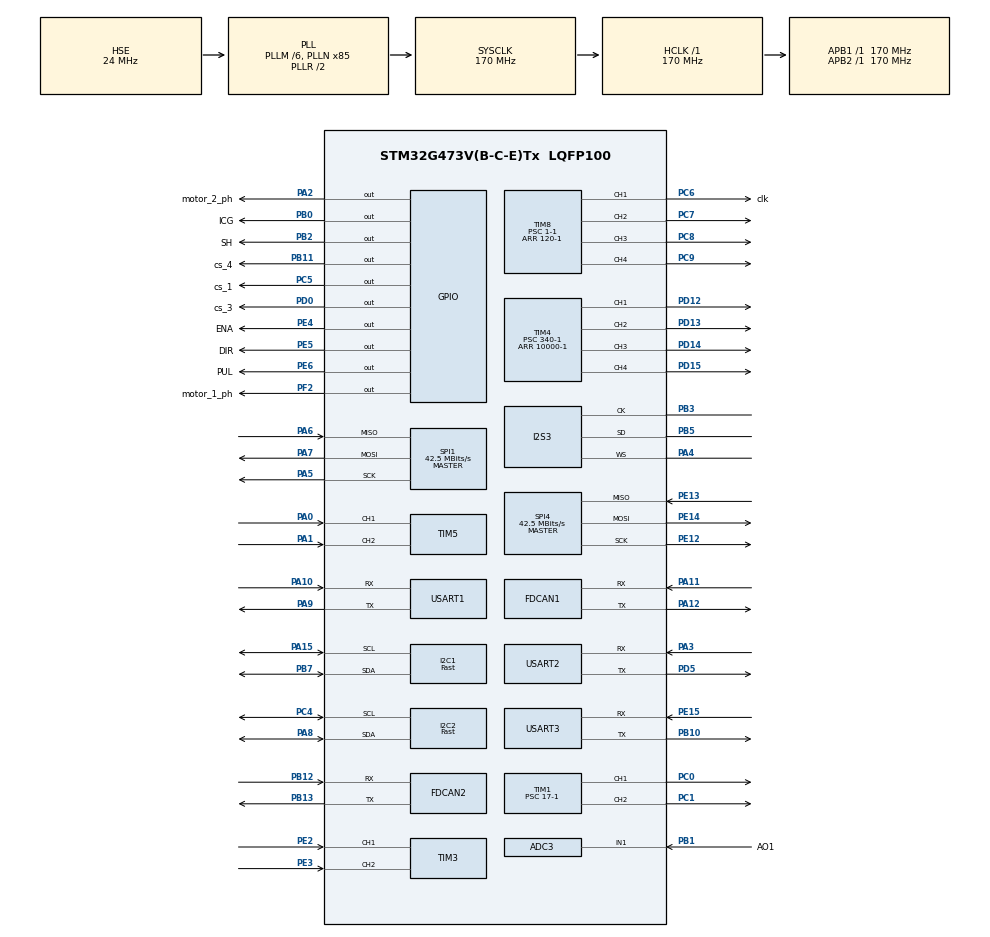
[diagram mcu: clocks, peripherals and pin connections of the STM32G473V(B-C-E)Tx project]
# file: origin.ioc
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ADC3.Channel-1\#ChannelRegularConversion=ADC_CHANNEL_1
ADC3.ClockPrescaler=ADC_CLOCK_SYNC_PCLK_DIV4
ADC3.DMAContinuousRequests=ENABLE
ADC3.ExternalTrigConv=ADC_EXTERNALTRIG_T7_TRGO
ADC3.NbrOfConversion=1
ADC3.NbrOfConversionFlag=1
ADC3.OffsetNumber-1\#ChannelRegularConversion=ADC_OFFSET_NONE
ADC3.Rank-1\#ChannelRegularConversion=1
ADC3.SamplingTime-1\#ChannelRegularConversion=ADC_SAMPLETIME_12CYCLES_5
ADC3.master=1
Dma.ADC3.0.Direction=DMA_PERIPH_TO_MEMORY
Dma.ADC3.0.EventEnable=DISABLE
Dma.ADC3.0.Instance=DMA1_Channel1
Dma.ADC3.0.MemDataAlignment=DMA_MDATAALIGN_HALFWORD
Dma.ADC3.0.MemInc=DMA_MINC_ENABLE
Dma.ADC3.0.Mode=DMA_NORMAL
Dma.ADC3.0.PeriphDataAlignment=DMA_PDATAALIGN_HALFWORD
Dma.ADC3.0.PeriphInc=DMA_PINC_DISABLE
Dma.ADC3.0.Polarity=HAL_DMAMUX_REQ_GEN_RISING
Dma.ADC3.0.Priority=DMA_PRIORITY_LOW
Dma.ADC3.0.RequestNumber=1
Dma.ADC3.0.SignalID=NONE
Dma.ADC3.0.SyncEnable=DISABLE
Dma.ADC3.0.SyncPolarity=HAL_DMAMUX_SYNC_NO_EVENT
Dma.ADC3.0.SyncRequestNumber=1
Dma.ADC3.0.SyncSignalID=NONE
Dma.Request0=ADC3
FDCAN1.CalculateBaudRateNominal=3541666
FDCAN1.CalculateTimeBitNominal=282
FDCAN1.CalculateTimeQuantumNominal=94.11764705882354
FDCAN2.CalculateBaudRateNominal=3541666
FDCAN2.CalculateTimeBitNominal=282
FDCAN2.CalculateTimeQuantumNominal=94.11764705882354
I2C1.I2C_Speed_Mode=I2C_Fast
I2C1.Timing=0x40621236
I2C2.I2C_Speed_Mode=I2C_Fast
I2C2.Timing=0x40621236
I2S3.AudioFreq=I2S_AUDIOFREQ_16K
I2S3.ErrorAudioFreq=0.0 %
I2S3.FullDuplexMode=I2S_FULLDUPLEXMODE_DISABLE
I2S3.Instance=SPI$Index
I2S3.RealAudioFreq=16.001 KHz
I2S3.VirtualMode=I2S_MODE_MASTER
Mcu.Family=STM32G4
Mcu.Name=STM32G473V(B-C-E)Tx
Mcu.Package=LQFP100
NVIC.DMA1_Channel1_IRQn=true\:0\:0\:false\:false\:true\:false\:true\:true
NVIC.PriorityGroup=NVIC_PRIORITYGROUP_4
NVIC.TIM2_IRQn=true\:0\:0\:false\:false\:true\:true\:true\:true
NVIC.TIM6_DAC_IRQn=true\:0\:0\:false\:false\:true\:true\:true\:true
PA0.Signal=S_TIM5_CH1
PA1.Signal=S_TIM5_CH2
PA10.Mode=Asynchronous
PA10.Signal=USART1_RX
PA11.Mode=FDCAN_Activate
PA11.Signal=FDCAN1_RX
PA12.Mode=FDCAN_Activate
PA12.Signal=FDCAN1_TX
PA13.Mode=Serial_Wire
PA13.Signal=SYS_JTMS-SWDIO
PA14.Mode=Serial_Wire
PA14.Signal=SYS_JTCK-SWCLK
PA15.Mode=I2C
PA15.Signal=I2C1_SCL
PA2.GPIO_Label=motor_2_ph
PA2.Signal=GPIO_Output
PA3.Mode=Asynchronous
PA3.Signal=USART2_RX
PA4.Mode=Half_Duplex_Master
PA4.Signal=I2S3_WS
PA5.Mode=Full_Duplex_Master
PA5.Signal=SPI1_SCK
PA6.Mode=Full_Duplex_Master
PA6.Signal=SPI1_MISO
PA7.Mode=Full_Duplex_Master
PA7.Signal=SPI1_MOSI
PA8.Mode=I2C
PA8.Signal=I2C2_SDA
PA9.Mode=Asynchronous
PA9.Signal=USART1_TX
PB0.GPIO_Label=ICG
PB0.Signal=GPIO_Output
PB1.GPIO_Label=AO1
PB1.Mode=IN1-Single-Ended
PB1.Signal=ADC3_IN1
PB10.Mode=Asynchronous
PB10.Signal=USART3_TX
PB11.GPIO_Label=cs_4
PB11.Signal=GPIO_Output
PB12.Mode=FDCAN_Activate
PB12.Signal=FDCAN2_RX
PB13.Mode=FDCAN_Activate
PB13.Signal=FDCAN2_TX
PB2.GPIO_Label=SH
PB2.GPIO_Speed=GPIO_SPEED_FREQ_VERY_HIGH
PB2.Signal=GPIO_Output
PB3.Mode=Half_Duplex_Master
PB3.Signal=I2S3_CK
PB5.Mode=Half_Duplex_Master
PB5.Signal=I2S3_SD
PB7.Mode=I2C
PB7.Signal=I2C1_SDA
PC0.Signal=S_TIM1_CH1
PC1.Signal=S_TIM1_CH2
PC10.Signal=UART4_TX
PC11.Signal=UART4_RX
PC12.Signal=UART5_TX
PC4.Mode=I2C
PC4.Signal=I2C2_SCL
PC5.GPIO_Label=cs_1
PC5.Signal=GPIO_Output
PC6.GPIO_Label=clk
PC6.Signal=S_TIM8_CH1
PC7.Signal=S_TIM8_CH2
PC8.Signal=S_TIM8_CH3
PC9.Signal=S_TIM8_CH4
PD0.GPIO_Label=cs_3
PD0.Signal=GPIO_Output
PD10.Signal=ADC5_IN7
PD11.Signal=ADC5_IN8
PD12.Signal=S_TIM4_CH1
PD13.Signal=S_TIM4_CH2
PD14.Signal=S_TIM4_CH3
PD15.Signal=S_TIM4_CH4
PD2.Signal=UART5_RX
PD3.Signal=S_TIM2_CH1
PD4.Signal=S_TIM2_CH2
PD5.Mode=Asynchronous
PD5.Signal=USART2_TX
PD6.Signal=S_TIM2_CH4
PD7.Signal=S_TIM2_CH3
PD8.Signal=ADC5_IN12
PD9.Signal=ADC5_IN13
PE12.Mode=Full_Duplex_Master
PE12.Signal=SPI4_SCK
PE13.Mode=Full_Duplex_Master
PE13.Signal=SPI4_MISO
PE14.Mode=Full_Duplex_Master
PE14.Signal=SPI4_MOSI
PE15.Mode=Asynchronous
PE15.Signal=USART3_RX
PE2.Signal=S_TIM3_CH1
PE3.Signal=S_TIM3_CH2
PE4.GPIO_Label=ENA
PE4.Signal=GPIO_Output
PE5.GPIO_Label=DIR
PE5.Signal=GPIO_Output
PE6.GPIO_Label=PUL
PE6.Signal=GPIO_Output
PE9.GPIO_Label=ccd_b
PE9.Signal=ADC3_IN2
PF0-OSC_IN.Mode=HSE-External-Oscillator
PF0-OSC_IN.Signal=RCC_OSC_IN
PF1-OSC_OUT.Mode=HSE-External-Oscillator
PF1-OSC_OUT.Signal=RCC_OSC_OUT
PF2.GPIO_Label=motor_1_ph
PF2.Signal=GPIO_Output
ProjectManager.HeapSize=0x200
ProjectManager.StackSize=0x400
ProjectManager.TargetToolchain=MDK-ARM V5.32
RCC.ADC12Freq_Value=170000000
RCC.ADC345Freq_Value=170000000
RCC.AHBFreq_Value=170000000
RCC.APB1Freq_Value=170000000
RCC.APB1TimFreq_Value=170000000
RCC.APB2Freq_Value=170000000
RCC.APB2TimFreq_Value=170000000
RCC.CortexFreq_Value=170000000
RCC.EXTERNAL_CLOCK_VALUE=12288000
RCC.HCLKFreq_Value=170000000
RCC.HSE_VALUE=24000000
RCC.HSI48_VALUE=48000000
RCC.HSI_VALUE=16000000
RCC.LSE_VALUE=32768
RCC.PLLM=RCC_PLLM_DIV6
RCC.PLLN=85
RCC.PLLSourceVirtual=RCC_PLLSOURCE_HSE
RCC.SYSCLKFreq_VALUE=170000000
RCC.SYSCLKSource=RCC_SYSCLKSOURCE_PLLCLK
RCC.USBFreq_Value=170000000
RCC.VCOOutputFreq_Value=340000000
SH.S_TIM1_CH1.0=TIM1_CH1,PWM Generation1 CH1
SH.S_TIM1_CH2.0=TIM1_CH2,PWM Generation2 CH2
SH.S_TIM2_CH1.0=TIM2_CH1
SH.S_TIM2_CH2.0=TIM2_CH2
SH.S_TIM2_CH3.0=TIM2_CH3
SH.S_TIM2_CH4.0=TIM2_CH4
SH.S_TIM3_CH1.0=TIM3_CH1,Encoder_Interface
SH.S_TIM3_CH2.0=TIM3_CH2,Encoder_Interface
SH.S_TIM4_CH1.0=TIM4_CH1,PWM Generation1 CH1
SH.S_TIM4_CH2.0=TIM4_CH2,PWM Generation2 CH2
SH.S_TIM4_CH3.0=TIM4_CH3,PWM Generation3 CH3
SH.S_TIM4_CH4.0=TIM4_CH4,PWM Generation4 CH4
SH.S_TIM5_CH1.0=TIM5_CH1,Encoder_Interface
SH.S_TIM5_CH2.0=TIM5_CH2,Encoder_Interface
SH.S_TIM8_CH1.0=TIM8_CH1,PWM Generation1 CH1
SH.S_TIM8_CH2.0=TIM8_CH2,PWM Generation2 CH2
SH.S_TIM8_CH3.0=TIM8_CH3,PWM Generation3 CH3
SH.S_TIM8_CH4.0=TIM8_CH4,PWM Generation4 CH4
SPI1.BaudRatePrescaler=SPI_BAUDRATEPRESCALER_4
SPI1.CalculateBaudRate=42.5 MBits/s
SPI1.Direction=SPI_DIRECTION_2LINES
SPI1.Mode=SPI_MODE_MASTER
SPI1.VirtualType=VM_MASTER
SPI4.BaudRatePrescaler=SPI_BAUDRATEPRESCALER_4
SPI4.CalculateBaudRate=42.5 MBits/s
SPI4.Direction=SPI_DIRECTION_2LINES
SPI4.Mode=SPI_MODE_MASTER
SPI4.VirtualType=VM_MASTER
TIM1.AutoReloadPreload=TIM_AUTORELOAD_PRELOAD_ENABLE
TIM1.Channel-PWM\ Generation1\ CH1=TIM_CHANNEL_1
TIM1.Channel-PWM\ Generation2\ CH2=TIM_CHANNEL_2
TIM1.PeriodNoDither=1000-1
TIM1.Prescaler=17-1
TIM2.AutoReloadPreload=TIM_AUTORELOAD_PRELOAD_ENABLE
TIM2.PeriodNoDither=5000-1
TIM2.Prescaler=170-1
TIM4.Channel-PWM\ Generation1\ CH1=TIM_CHANNEL_1
TIM4.Channel-PWM\ Generation2\ CH2=TIM_CHANNEL_2
TIM4.Channel-PWM\ Generation3\ CH3=TIM_CHANNEL_3
TIM4.Channel-PWM\ Generation4\ CH4=TIM_CHANNEL_4
TIM4.PeriodNoDither=10000-1
TIM4.Prescaler=340-1
TIM6.PeriodNoDither=170-1
TIM6.Prescaler=3000-1
TIM7.PeriodNoDither=120-1
TIM7.Prescaler=2-1
TIM7.TIM_MasterOutputTrigger=TIM_TRGO_UPDATE
TIM8.AutoReloadPreload=TIM_AUTORELOAD_PRELOAD_DISABLE
TIM8.Channel-PWM\ Generation1\ CH1=TIM_CHANNEL_1
TIM8.Channel-PWM\ Generation2\ CH2=TIM_CHANNEL_2
TIM8.Channel-PWM\ Generation3\ CH3=TIM_CHANNEL_3
TIM8.Channel-PWM\ Generation4\ CH4=TIM_CHANNEL_4
TIM8.PeriodNoDither=120-1
TIM8.Prescaler=1-1
USART1.VirtualMode-Asynchronous=VM_ASYNC
USART2.VirtualMode-Asynchronous=VM_ASYNC
USART3.VirtualMode-Asynchronous=VM_ASYNC
VP_SYS_VS_DBSignals.Mode=DisableDeadBatterySignals
VP_TIM1_VS_ClockSourceINT.Mode=Internal
VP_TIM2_VS_ClockSourceINT.Mode=Internal
VP_TIM4_VS_ClockSourceINT.Mode=Internal
VP_TIM6_VS_ClockSourceINT.Mode=Enable_Timer
VP_TIM7_VS_ClockSourceINT.Mode=Enable_Timer
VP_TIM8_VS_ClockSourceINT.Mode=Internal
board=custom

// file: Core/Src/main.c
/* USER CODE BEGIN Header */
/**
  ******************************************************************************
  * @file           : main.c
  * @brief          : Main program body
  ******************************************************************************
  * @attention
  *
  * Copyright (c) 2025 STMicroelectronics.
  * All rights reserved.
  *
  * This software is licensed under terms that can be found in the LICENSE file
  * in the root directory of this software component.
  * If no LICENSE file comes with this software, it is provided AS-IS.
  *
  ******************************************************************************
  */
/* USER CODE END Header */
#include "main.h"
#include "adc.h"
#include "dma.h"
#include "fdcan.h"
#include "i2c.h"
#include "i2s.h"
#include "spi.h"
#include "tim.h"
#include "usart.h"
#include "gpio.h"

/* USER CODE BEGIN Includes */
	#include "string.h"
/* USER CODE END Includes */

/* USER CODE BEGIN PM */
#define max(a, b) ((a) >= (b) ? (a) : (b))
#define min(a, b) ((a) <= (b) ? (a) : (b))
/* USER CODE END PM */

/* USER CODE BEGIN PV */
	static uint32_t fac_us = 0; // us延时倍乘数

	 uint8_t  ir_x[8] ;
/* USER CODE END PV */

void SystemClock_Config(void);
/* USER CODE BEGIN PFP */
void delay_us(uint32_t nus)
{
	uint32_t ticks;
	uint32_t told, tnow, tcnt = 0;
	uint32_t reload = SysTick->LOAD; // LOAD的值
	ticks = nus * fac_us;		//需要的节拍数
	told = SysTick->VAL;		//刚进入时的计数器值
	while (1)
	{
		tnow = SysTick->VAL;
		if (tnow != told)
		{
			if (tnow < told)
				tcnt += told - tnow; //这里注意一下SYSTICK是一个递减的计数器就可以了.
			else
				tcnt += reload - tnow + told;
			told = tnow;
			if (tcnt >= ticks)
				break; //时间超过/等于要延迟的时间,则退出.
		}
	};
}

 void HAL_TIM_PeriodElapsedCallback(TIM_HandleTypeDef *htim)
{
  if (htim->Instance == htim6.Instance)
    {
			if (HAL_GetTick() - icg_flag >= 10)
        {
            HAL_GPIO_WritePin(ICG_GPIO_Port, ICG_Pin, 1);
            HAL_GPIO_WritePin(SH_GPIO_Port, SH_Pin, 0);
            delay_us(2);
            HAL_GPIO_WritePin(SH_GPIO_Port, SH_Pin, 1);
            delay_us(4);
            HAL_GPIO_WritePin(ICG_GPIO_Port, ICG_Pin, 0);
            HAL_ADC_Start_DMA(&hadc3, (uint32_t *)ccd_rawdata, 1546);
            icg_flag = HAL_GetTick();
        }
        else
        {
            HAL_GPIO_WritePin(SH_GPIO_Port, SH_Pin, 0);
            delay_us(2);
            HAL_GPIO_WritePin(SH_GPIO_Port, SH_Pin, 1);
            delay_us(4);
        }

    }

}
/* USER CODE END PFP */

int main(void)
{

  /* MCU Configuration--------------------------------------------------------*/

  /* Reset of all peripherals, Initializes the Flash interface and the Systick. */
  HAL_Init();

  /* Configure the system clock */
  SystemClock_Config();

  /* Initialize all configured peripherals */
  MX_GPIO_Init();
  MX_DMA_Init();
  MX_TIM1_Init();
  MX_USART1_UART_Init();
  MX_USART3_UART_Init();
  MX_TIM2_Init();
  MX_TIM3_Init();
  MX_TIM5_Init();
  MX_SPI1_Init();
  MX_TIM8_Init();
  MX_TIM4_Init();
  MX_USART2_UART_Init();
  MX_ADC3_Init();
  MX_FDCAN1_Init();
  MX_FDCAN2_Init();
  MX_I2C1_Init();
  MX_I2C2_Init();
  MX_I2S3_Init();
  MX_SPI4_Init();
  MX_TIM6_Init();
  MX_TIM7_Init();
  /* USER CODE BEGIN 2 */
	//tim1是给两个普通直流电机的，tim3是编码器1，tim5是编码器2，tim2只用于普通定时（利用中断）
	//tim6是给ccd的SH用，tim8是用于输出pwm给ccd的M tim4是用来给舵机用的  配置：340-1，10000-1
//  中断开启
HAL_TIM_Base_Start_IT(&htim2);
HAL_TIM_Base_Start_IT(&htim6);
HAL_TIM_Base_Start(&htim7);
//普通电机开启
HAL_TIM_PWM_Start(&htim1,TIM_CHANNEL_1);
HAL_TIM_PWM_Start(&htim1,TIM_CHANNEL_2);
HAL_TIM_Encoder_Start(&htim3,TIM_CHANNEL_ALL);
HAL_TIM_Encoder_Start(&htim5,TIM_CHANNEL_ALL);
//舵机
 HAL_TIM_PWM_Start(&htim8,TIM_CHANNEL_4);
HAL_TIM_PWM_Start(&htim8,TIM_CHANNEL_3);
 HAL_TIM_PWM_Start(&htim8,TIM_CHANNEL_2);
HAL_TIM_PWM_Start(&htim8,TIM_CHANNEL_1);
 HAL_TIM_PWM_Start(&htim4,TIM_CHANNEL_4);
HAL_TIM_PWM_Start(&htim4,TIM_CHANNEL_3);
 HAL_TIM_PWM_Start(&htim4,TIM_CHANNEL_2);
HAL_TIM_PWM_Start(&htim4,TIM_CHANNEL_1);

//灰度配置
//  set_adjust_mode(1);
//  HAL_Delay(500);
//
//  set_adjust_mode(0);
//  HAL_Delay(500);

 //tcs230配置
  HAL_UART_Receive_IT(&huart3, &RxData, 1);

  printf("AT+LIGHT+ON\r\n");
  printf("AT+LIGHT+ON\r\n");
  printf("AT+LIGHT+ON\r\n");
  printf("AT+LIGHT+ON\r\n");
  printf("AT+LIGHT+ON\r\n");
  printf("AT+LIGHT+ON\r\n");
	//普通电机配置
	speed_left = 0;
  speed_right = 0;
  speed_all = 0;

	PID_struct_init(&pid_left, POSITION_PID, 950, 950, 50, 0, 0);
  PID_struct_init(&pid_right, POSITION_PID, 950, 950, 50, 0, 0);

//ccd
__HAL_TIM_SetCompare(&htim8,TIM_CHANNEL_1,60);

//调试
char t[128];
sprintf(t,"l_w=%d,r_w=%d",l_w,r_w);

  /* USER CODE END 2 */

  /* Infinite loop */
  /* USER CODE BEGIN WHILE */
  while (1)
  {
//		memcpy(ccd_data,ccd_rawdata,128*2);
//		HAL_Delay(10);
    /* USER CODE END WHILE */

    /* USER CODE BEGIN 3 */
    int32_t sum = 0;
    _max = 0, _min = 65535;
    for (int i = 0; i < 128; i++)
    {
        int32_t data = 0;
        for (int j = 0; j < 8; j++)
            data += (ccd_rawdata[272 + i * 8 + j] - 380);
        ccd_data[i] = (data / 8);
        sum += ccd_data[i];
        _max = max(_max, ccd_data[i]);
        _min = min(_min, ccd_data[i]);
    }
    avg = sum / 128;

   FindLines(&l, &r, ccd_data, 500, &l_w, &r_w);
//		sprintf(t,"l_w=%d,r_w=%d",l_w,r_w);
//
//HAL_UART_Transmit(&huart1,t,strlen(t),50);
//HAL_Delay(100);
  }
  /* USER CODE END 3 */
}

void SystemClock_Config(void)
{
  RCC_OscInitTypeDef RCC_OscInitStruct = {0};
  RCC_ClkInitTypeDef RCC_ClkInitStruct = {0};

  /** Configure the main internal regulator output voltage
  */
  HAL_PWREx_ControlVoltageScaling(PWR_REGULATOR_VOLTAGE_SCALE1_BOOST);

  /** Initializes the RCC Oscillators according to the specified parameters
  * in the RCC_OscInitTypeDef structure.
  */
  RCC_OscInitStruct.OscillatorType = RCC_OSCILLATORTYPE_HSE;
  RCC_OscInitStruct.HSEState = RCC_HSE_ON;
  RCC_OscInitStruct.PLL.PLLState = RCC_PLL_ON;
  RCC_OscInitStruct.PLL.PLLSource = RCC_PLLSOURCE_HSE;
  RCC_OscInitStruct.PLL.PLLM = RCC_PLLM_DIV6;
  RCC_OscInitStruct.PLL.PLLN = 85;
  RCC_OscInitStruct.PLL.PLLP = RCC_PLLP_DIV2;
  RCC_OscInitStruct.PLL.PLLQ = RCC_PLLQ_DIV2;
  RCC_OscInitStruct.PLL.PLLR = RCC_PLLR_DIV2;
  if (HAL_RCC_OscConfig(&RCC_OscInitStruct) != HAL_OK)
  {
    Error_Handler();
  }

  /** Initializes the CPU, AHB and APB buses clocks
  */
  RCC_ClkInitStruct.ClockType = RCC_CLOCKTYPE_HCLK|RCC_CLOCKTYPE_SYSCLK
                              |RCC_CLOCKTYPE_PCLK1|RCC_CLOCKTYPE_PCLK2;
  RCC_ClkInitStruct.SYSCLKSource = RCC_SYSCLKSOURCE_PLLCLK;
  RCC_ClkInitStruct.AHBCLKDivider = RCC_SYSCLK_DIV1;
  RCC_ClkInitStruct.APB1CLKDivider = RCC_HCLK_DIV1;
  RCC_ClkInitStruct.APB2CLKDivider = RCC_HCLK_DIV1;

  if (HAL_RCC_ClockConfig(&RCC_ClkInitStruct, FLASH_LATENCY_4) != HAL_OK)
  {
    Error_Handler();
  }
}

void Error_Handler(void)
{
  __disable_irq();
  while (1)
  {
  }
}
